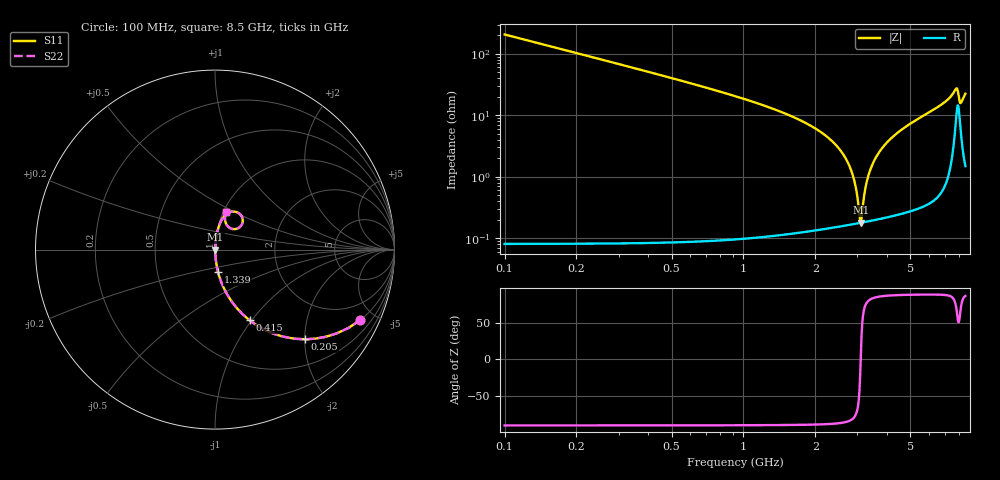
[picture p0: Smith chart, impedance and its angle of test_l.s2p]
# Hz S RI R 50
!Freq.(Hz) S11(Real) S11(Imag) S21(Real) S21(Imag) S12(Real) S12(Imag) S22(Real) S22(Imag)
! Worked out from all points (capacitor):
!   401 points, 100 MHz to 8.5 GHz, reference 50 ohm
!   read as one part in series: C = 7.7 pF near 142 MHz
!   lowest |Z| = 179 mohm at 3.103 GHz (marker M1)
!   series resonance near 3.098 GHz, so ESL is about 340 pH
!   S11 on the Smith chart (normalised r, x): 100 MHz: 1.00, -4.13; 205 MHz: 1.00, -2.01; 415 MHz: 1.00, -0.98; 1.339 GHz: 1.00, -0.25; 8.5 GHz: 1.03, +0.45
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1e8  0.8099 -0.3922  0.1901 0.3922  0.1901 0.3922  0.8099 -0.3922
2.05e8  0.502 -0.4996  0.498 0.4996  0.498 0.4996  0.502 -0.4996
3.1e8  0.3038 -0.4593  0.6962 0.4593  0.6962 0.4593  0.3038 -0.4593
4.15e8  0.1936 -0.3942  0.8064 0.3942  0.8064 0.3942  0.1936 -0.3942
7.3e8  0.0676 -0.2494  0.9324 0.2494  0.9324 0.2494  0.0676 -0.2494
1.339e9  0.0167 -0.1238  0.9833 0.1238  0.9833 0.1238  0.0167 -0.1238
1.507e9  0.0121 -0.1038  0.9879 0.1038  0.9879 0.1038  0.0121 -0.1038
2.473e9  0.00245 -0.0307  0.9975 0.0307  0.9975 0.0307  0.00245 -0.0307
2.746e9  0.00189 -0.0164  0.9981 0.0164  0.9981 0.0164  0.00189 -0.0164
2.914e9  0.00176 -0.00832  0.9982 0.00832  0.9982 0.00832  0.00176 -0.00832
2.977e9  0.00175 -0.00541  0.9983 0.00541  0.9983 0.00541  0.00175 -0.00541
3.061e9  0.00175 -0.00162  0.9982 0.00162  0.9982 0.00162  0.00175 -0.00162
3.103e9  0.00177 0.000241  0.9982 -0.000241  0.9982 -0.000241  0.00177 0.000241
3.271e9  0.0019 0.00747  0.9981 -0.00747  0.9981 -0.00747  0.0019 0.00747
3.46e9  0.00216 0.0153  0.9978 -0.0153  0.9978 -0.0153  0.00216 0.0153
3.796e9  0.00288 0.0284  0.9971 -0.0284  0.9971 -0.0284  0.00288 0.0284
4.3e9  0.00454 0.047  0.9955 -0.047  0.9955 -0.047  0.00454 0.047
5.707e9  0.013 0.098  0.987 -0.098  0.987 -0.098  0.013 0.098
7.114e9  0.0374 0.1666  0.9626 -0.1666  0.9626 -0.1666  0.0374 0.1666
7.786e9  0.134 0.2019  0.866 -0.2019  0.866 -0.2019  0.134 0.2019
8.101e9  0.0772 0.1244  0.9228 -0.1244  0.9228 -0.1244  0.0772 0.1244
8.5e9  0.0603 0.2073  0.9397 -0.2073  0.9397 -0.2073  0.0603 0.2073
